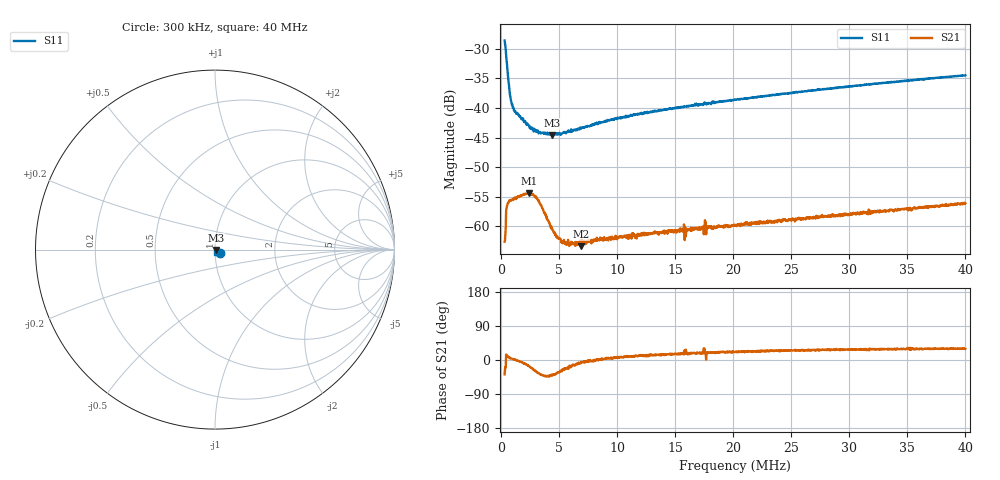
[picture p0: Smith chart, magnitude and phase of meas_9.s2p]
# HZ S RI R 50
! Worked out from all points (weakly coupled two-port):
!   1206 points, 300 kHz to 40 MHz, reference 50 ohm
!   highest |S21| = -54.33 dB at 2.376 MHz (marker M1); lowest = -63.3 dB at 6.856 MHz (marker M2)
!   lowest |S11| = -44.6 dB at 4.385 MHz (marker M3), VSWR 1.01, Z = 50.5 - j0.22 ohm
!   |S11| at or under -10 dB: start of sweep to end of sweep
!   S12 and S22 are empty: the file has one direction only
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300000  0.0303 -0.0214  0.000587 -0.000456  0 0  0 0
431784  0.0184 -0.0208  0.00132 0.000346  0 0  0 0
629460  0.00821 -0.0147  0.00158 0.000245  0 0  0 0
794190  0.00663 -0.0104  0.00165 0.000141  0 0  0 0
958920  0.0068 -0.00835  0.00168 7.6e-05  0 0  0 0
1288380  0.00666 -0.00601  0.0017 -2.38e-05  0 0  0 0
2375598  0.00579 -0.00409  0.00185 -0.000529  0 0  0 0
2836842  0.00548 -0.00351  0.00163 -0.000815  0 0  0 0
3166302  0.00568 -0.00307  0.00139 -0.000951  0 0  0 0
4385304  0.00545 -0.00217  0.000745 -0.000601  0 0  0 0
4846548  0.00561 -0.002  0.000671 -0.000433  0 0  0 0
5373684  0.00589 -0.00178  0.000658 -0.000307  0 0  0 0
5834928  0.00612 -0.00177  0.000687 -0.000236  0 0  0 0
6856254  0.00646 -0.00181  0.000674 -0.000102  0 0  0 0
6922146  0.00652 -0.00166  0.00072 -6.91e-05  0 0  0 0
9656664  0.00767 -0.00252  0.000795 6.03e-05  0 0  0 0
1.354429e7  0.00834 -0.00438  0.000867 0.000209  0 0  0 0
1.776138e7  0.00878 -0.00648  0.000947 0.000329  0 0  0 0
2.016644e7  0.00903 -0.00764  0.000951 0.000371  0 0  0 0
2.678858e7  0.00929 -0.0105  0.00105 0.000517  0 0  0 0
3.341073e7  0.00965 -0.0134  0.00117 0.00064  0 0  0 0
3.999993e7  0.00986 -0.0161  0.00137 0.000772  0 0  0 0
